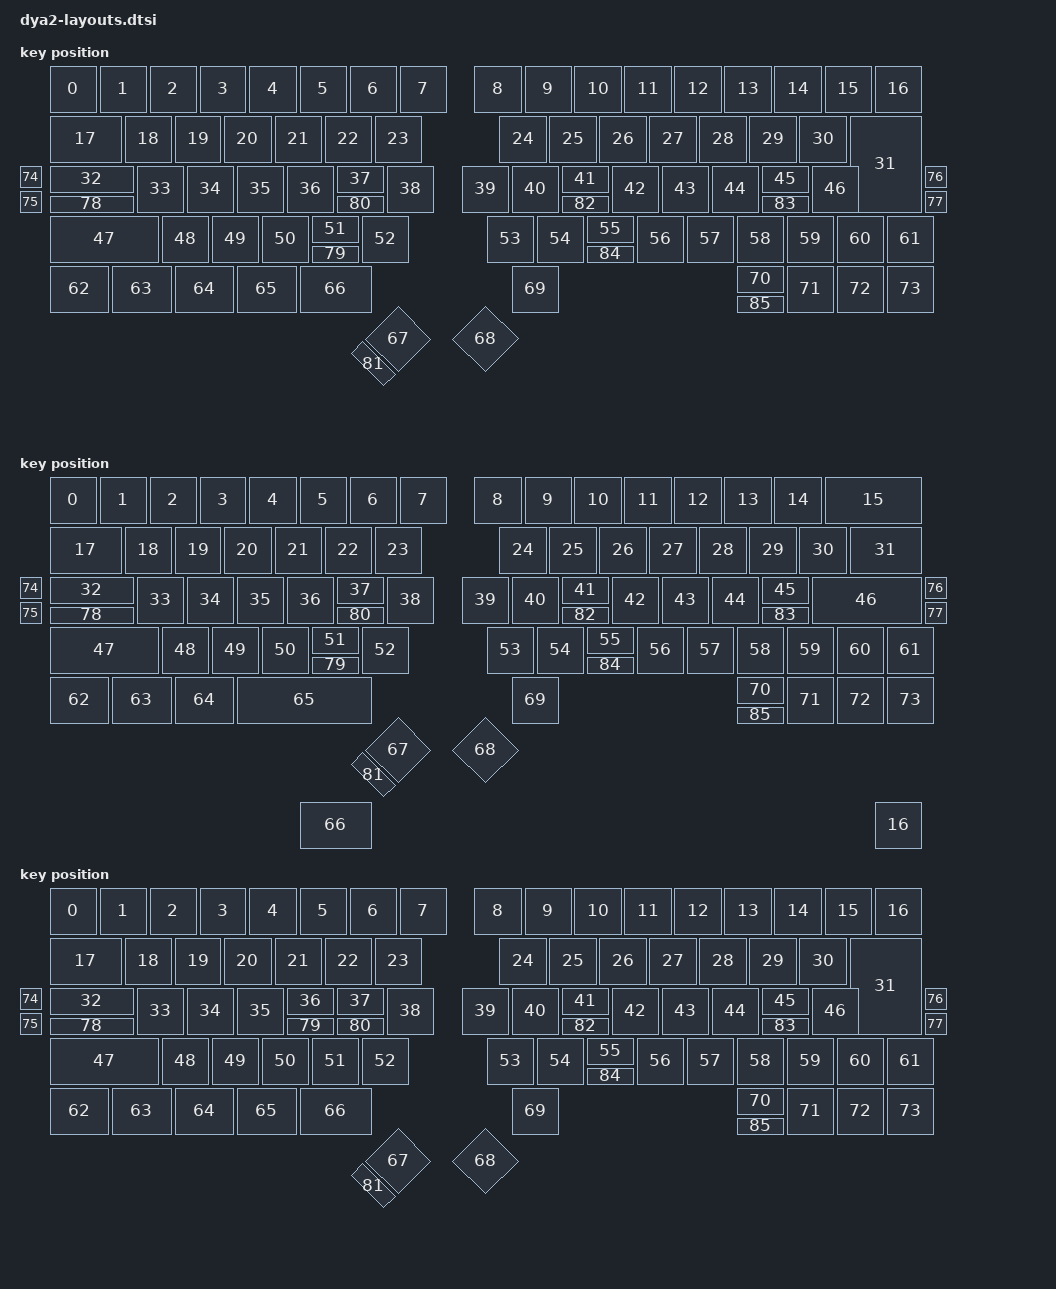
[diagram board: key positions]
#include <physical_layouts.dtsi>

/ {
	dya_layout_jis: dya_layout_jis {
		compatible = "zmk,physical-layout";
		display-name = "JIS";
		
		kscan = <&kscan0>;
		transform = <&default_transform>;
		
		keys//                     w   h    x    y     rot    rx    ry
		// 17
		= <&key_physical_attrs 100 100   60    0       0     0     0>
		, <&key_physical_attrs 100 100  160    0       0     0     0>
		, <&key_physical_attrs 100 100  260    0       0     0     0>
		, <&key_physical_attrs 100 100  360    0       0     0     0>
		, <&key_physical_attrs 100 100  460    0       0     0     0>
		, <&key_physical_attrs 100 100  560    0       0     0     0>
		, <&key_physical_attrs 100 100  660    0       0     0     0>
		, <&key_physical_attrs 100 100  760    0       0     0     0>
		, <&key_physical_attrs 100 100  910    0       0     0     0>
		, <&key_physical_attrs 100 100 1010    0       0     0     0>
		, <&key_physical_attrs 100 100 1110    0       0     0     0>
		, <&key_physical_attrs 100 100 1210    0       0     0     0>
		, <&key_physical_attrs 100 100 1310    0       0     0     0>
		, <&key_physical_attrs 100 100 1410    0       0     0     0>
		, <&key_physical_attrs 100 100 1510    0       0     0     0>
		, <&key_physical_attrs 100 100 1610    0       0     0     0>
		, <&key_physical_attrs 100 100 1710    0       0     0     0>
		// 15
		, <&key_physical_attrs 150 100   60  100       0     0     0>
		, <&key_physical_attrs 100 100  210  100       0     0     0>
		, <&key_physical_attrs 100 100  310  100       0     0     0>
		, <&key_physical_attrs 100 100  410  100       0     0     0>
		, <&key_physical_attrs 100 100  510  100       0     0     0>
		, <&key_physical_attrs 100 100  610  100       0     0     0>
		, <&key_physical_attrs 100 100  710  100       0     0     0>
		, <&key_physical_attrs 100 100  960  100       0     0     0>
		, <&key_physical_attrs 100 100 1060  100       0     0     0>
		, <&key_physical_attrs 100 100 1160  100       0     0     0>
		, <&key_physical_attrs 100 100 1260  100       0     0     0>
		, <&key_physical_attrs 100 100 1360  100       0     0     0>
		, <&key_physical_attrs 100 100 1460  100       0     0     0>
		, <&key_physical_attrs 100 100 1560  100       0     0     0>
		, <&key_physical_attrs 150 200 1660  100       0     0     0>// enter key
		// 15
		, <&key_physical_attrs 175  60   60  200       0     0     0>
		, <&key_physical_attrs 100 100  235  200       0     0     0>
		, <&key_physical_attrs 100 100  335  200       0     0     0>
		, <&key_physical_attrs 100 100  435  200       0     0     0>
		, <&key_physical_attrs 100 100  535  200       0     0     0>
		, <&key_physical_attrs 100 60   635  200       0     0     0>
		, <&key_physical_attrs 100 100  735  200       0     0     0>
		, <&key_physical_attrs 100 100  885  200       0     0     0>
		, <&key_physical_attrs 100 100  985  200       0     0     0>
		, <&key_physical_attrs 100 60  1085  200       0     0     0>
		, <&key_physical_attrs 100 100 1185  200       0     0     0>
		, <&key_physical_attrs 100 100 1285  200       0     0     0>
		, <&key_physical_attrs 100 100 1385  200       0     0     0>
		, <&key_physical_attrs 100  60 1485  200       0     0     0>
		, <&key_physical_attrs 100 100 1585  200       0     0     0>
		// 15
		, <&key_physical_attrs 225 100   60  300       0     0     0>
		, <&key_physical_attrs 100 100  285  300       0     0     0>
		, <&key_physical_attrs 100 100  385  300       0     0     0>
		, <&key_physical_attrs 100 100  485  300       0     0     0>
		, <&key_physical_attrs 100  60  585  300       0     0     0>
		, <&key_physical_attrs 100 100  685  300       0     0     0>
		, <&key_physical_attrs 100 100  935  300       0     0     0>
		, <&key_physical_attrs 100 100 1035  300       0     0     0>
		, <&key_physical_attrs 100  60 1135  300       0     0     0>
		, <&key_physical_attrs 100 100 1235  300       0     0     0>
		, <&key_physical_attrs 100 100 1335  300       0     0     0>
		, <&key_physical_attrs 100 100 1435  300       0     0     0>
		, <&key_physical_attrs 100 100 1535  300       0     0     0>
		, <&key_physical_attrs 100 100 1635  300       0     0     0>
		, <&key_physical_attrs 100 100 1735  300       0     0     0>
		// 12
		, <&key_physical_attrs 125 100   60  400       0     0     0>
		, <&key_physical_attrs 125 100  185  400       0     0     0>
		, <&key_physical_attrs 125 100  310  400       0     0     0>
		, <&key_physical_attrs 125 100  435  400       0     0     0>
		, <&key_physical_attrs 150 100  560  400       0     0     0>
		, <&key_physical_attrs 100 100  710  500    4500   760   550>
		, <&key_physical_attrs 100 100  885  500 (-4500)   935   550>
		, <&key_physical_attrs 100 100  985  400       0     0     0>
		, <&key_physical_attrs 100  60 1435  400       0     0     0>
		, <&key_physical_attrs 100 100 1535  400       0     0     0>
		, <&key_physical_attrs 100 100 1635  400       0     0     0>
		, <&key_physical_attrs 100 100 1735  400       0     0     0>
		// Setting: 4 keys
		, <&key_physical_attrs  50  50     0  200       0     0     0>
		, <&key_physical_attrs  50  50     0  250       0     0     0>
		, <&key_physical_attrs  50  50 1810  200       0     0     0>
		, <&key_physical_attrs  50  50 1810  250       0     0     0>
		// Touch: 8 keys
		, <&key_physical_attrs 175  40   60  260       0     0     0>
		, <&key_physical_attrs 100 40  585  360       0     0     0>// V
		, <&key_physical_attrs 100 40  635  260       0     0     0>
		, <&key_physical_attrs 100 40  710  600    4500   760   550>
		, <&key_physical_attrs 100 40 1085  260       0     0     0>
		, <&key_physical_attrs 100 40 1485  260       0     0     0>
		, <&key_physical_attrs 100 40 1135  360       0     0     0>
		, <&key_physical_attrs 100 40 1435  460       0     0     0>
		;
	};
	
	dya_layout_ansi: dya_layout_ansi {
		compatible = "zmk,physical-layout";
		display-name = "DYA2 ANSI";
		
		kscan = <&kscan0>;
		transform = <&default_transform>;
		
		keys//                     w   h    x    y     rot    rx    ry
		// R1: 17 keys
		= <&key_physical_attrs 100 100   60    0       0     0     0>
		, <&key_physical_attrs 100 100  160    0       0     0     0>
		, <&key_physical_attrs 100 100  260    0       0     0     0>
		, <&key_physical_attrs 100 100  360    0       0     0     0>
		, <&key_physical_attrs 100 100  460    0       0     0     0>
		, <&key_physical_attrs 100 100  560    0       0     0     0>
		, <&key_physical_attrs 100 100  660    0       0     0     0>
		, <&key_physical_attrs 100 100  760    0       0     0     0>
		, <&key_physical_attrs 100 100  910    0       0     0     0>
		, <&key_physical_attrs 100 100 1010    0       0     0     0>
		, <&key_physical_attrs 100 100 1110    0       0     0     0>
		, <&key_physical_attrs 100 100 1210    0       0     0     0>
		, <&key_physical_attrs 100 100 1310    0       0     0     0>
		, <&key_physical_attrs 100 100 1410    0       0     0     0>
		, <&key_physical_attrs 100 100 1510    0       0     0     0>
		, <&key_physical_attrs 200 100 1610    0       0     0     0>
		, <&key_physical_attrs 100 100 1710  650       0     0     0>// not used
		// R2: 15 keys
		, <&key_physical_attrs 150 100   60  100       0     0     0>
		, <&key_physical_attrs 100 100  210  100       0     0     0>
		, <&key_physical_attrs 100 100  310  100       0     0     0>
		, <&key_physical_attrs 100 100  410  100       0     0     0>
		, <&key_physical_attrs 100 100  510  100       0     0     0>
		, <&key_physical_attrs 100 100  610  100       0     0     0>
		, <&key_physical_attrs 100 100  710  100       0     0     0>
		, <&key_physical_attrs 100 100  960  100       0     0     0>
		, <&key_physical_attrs 100 100 1060  100       0     0     0>
		, <&key_physical_attrs 100 100 1160  100       0     0     0>
		, <&key_physical_attrs 100 100 1260  100       0     0     0>
		, <&key_physical_attrs 100 100 1360  100       0     0     0>
		, <&key_physical_attrs 100 100 1460  100       0     0     0>
		, <&key_physical_attrs 100 100 1560  100       0     0     0>
		, <&key_physical_attrs 150 100 1660  100       0     0     0>
		// R3: 15 keys
		, <&key_physical_attrs 175  60   60  200       0     0     0>
		, <&key_physical_attrs 100 100  235  200       0     0     0>
		, <&key_physical_attrs 100 100  335  200       0     0     0>
		, <&key_physical_attrs 100 100  435  200       0     0     0>
		, <&key_physical_attrs 100 100  535  200       0     0     0>
		, <&key_physical_attrs 100 60   635  200       0     0     0>
		, <&key_physical_attrs 100 100  735  200       0     0     0>
		, <&key_physical_attrs 100 100  885  200       0     0     0>
		, <&key_physical_attrs 100 100  985  200       0     0     0>
		, <&key_physical_attrs 100 60  1085  200       0     0     0>
		, <&key_physical_attrs 100 100 1185  200       0     0     0>
		, <&key_physical_attrs 100 100 1285  200       0     0     0>
		, <&key_physical_attrs 100 100 1385  200       0     0     0>
		, <&key_physical_attrs 100 60  1485  200       0     0     0>
		, <&key_physical_attrs 225 100 1585  200       0     0     0>
		// R4: 15 keys
		, <&key_physical_attrs 225 100   60  300       0     0     0>
		, <&key_physical_attrs 100 100  285  300       0     0     0>
		, <&key_physical_attrs 100 100  385  300       0     0     0>
		, <&key_physical_attrs 100 100  485  300       0     0     0>
		, <&key_physical_attrs 100 60   585  300       0     0     0>
		, <&key_physical_attrs 100 100  685  300       0     0     0>
		, <&key_physical_attrs 100 100  935  300       0     0     0>
		, <&key_physical_attrs 100 100 1035  300       0     0     0>
		, <&key_physical_attrs 100 60  1135  300       0     0     0>
		, <&key_physical_attrs 100 100 1235  300       0     0     0>
		, <&key_physical_attrs 100 100 1335  300       0     0     0>
		, <&key_physical_attrs 100 100 1435  300       0     0     0>
		, <&key_physical_attrs 100 100 1535  300       0     0     0>
		, <&key_physical_attrs 100 100 1635  300       0     0     0>
		, <&key_physical_attrs 100 100 1735  300       0     0     0>
		// R5: 12 keys
		, <&key_physical_attrs 125 100   60  400       0     0     0>
		, <&key_physical_attrs 125 100  185  400       0     0     0>
		, <&key_physical_attrs 125 100  310  400       0     0     0>
		, <&key_physical_attrs 275 100  435  400       0     0     0>
		, <&key_physical_attrs 150 100  560  650       0     0     0>// not used
		, <&key_physical_attrs 100 100  710  500    4500   760   550>// left space
		, <&key_physical_attrs 100 100  885  500 (-4500)   935   550>// right space
		, <&key_physical_attrs 100 100  985  400       0     0     0>
		, <&key_physical_attrs 100  60 1435  400       0     0     0>
		, <&key_physical_attrs 100 100 1535  400       0     0     0>
		, <&key_physical_attrs 100 100 1635  400       0     0     0>
		, <&key_physical_attrs 100 100 1735  400       0     0     0>
		// Setting: 4 keys
		, <&key_physical_attrs  50  50     0  200       0     0     0>
		, <&key_physical_attrs  50  50     0  250       0     0     0>
		, <&key_physical_attrs  50  50 1810  200       0     0     0>
		, <&key_physical_attrs  50  50 1810  250       0     0     0>
		// Touch: 8 keys
		, <&key_physical_attrs 175  40   60  260       0     0     0>
		, <&key_physical_attrs 100 40  585  360       0     0     0>// V
		, <&key_physical_attrs 100 40  635  260       0     0     0>
		, <&key_physical_attrs 100 40  710  600    4500   760   550>
		, <&key_physical_attrs 100 40 1085  260       0     0     0>
		, <&key_physical_attrs 100 40 1485  260       0     0     0>
		, <&key_physical_attrs 100 40 1135  360       0     0     0>
		, <&key_physical_attrs 100 40 1435  460       0     0     0>
		;
	};
	
	
	dya_layout_jis_touchf: dya_layout_jis_touchf {
		compatible = "zmk,physical-layout";
		display-name = "JIS (touch:F)";
		
		kscan = <&kscan0>;
		transform = <&default_transform>;
		
		keys//                     w   h    x    y     rot    rx    ry
		// 17
		= <&key_physical_attrs 100 100   60    0       0     0     0>
		, <&key_physical_attrs 100 100  160    0       0     0     0>
		, <&key_physical_attrs 100 100  260    0       0     0     0>
		, <&key_physical_attrs 100 100  360    0       0     0     0>
		, <&key_physical_attrs 100 100  460    0       0     0     0>
		, <&key_physical_attrs 100 100  560    0       0     0     0>
		, <&key_physical_attrs 100 100  660    0       0     0     0>
		, <&key_physical_attrs 100 100  760    0       0     0     0>
		, <&key_physical_attrs 100 100  910    0       0     0     0>
		, <&key_physical_attrs 100 100 1010    0       0     0     0>
		, <&key_physical_attrs 100 100 1110    0       0     0     0>
		, <&key_physical_attrs 100 100 1210    0       0     0     0>
		, <&key_physical_attrs 100 100 1310    0       0     0     0>
		, <&key_physical_attrs 100 100 1410    0       0     0     0>
		, <&key_physical_attrs 100 100 1510    0       0     0     0>
		, <&key_physical_attrs 100 100 1610    0       0     0     0>
		, <&key_physical_attrs 100 100 1710    0       0     0     0>
		// 15
		, <&key_physical_attrs 150 100   60  100       0     0     0>
		, <&key_physical_attrs 100 100  210  100       0     0     0>
		, <&key_physical_attrs 100 100  310  100       0     0     0>
		, <&key_physical_attrs 100 100  410  100       0     0     0>
		, <&key_physical_attrs 100 100  510  100       0     0     0>
		, <&key_physical_attrs 100 100  610  100       0     0     0>
		, <&key_physical_attrs 100 100  710  100       0     0     0>
		, <&key_physical_attrs 100 100  960  100       0     0     0>
		, <&key_physical_attrs 100 100 1060  100       0     0     0>
		, <&key_physical_attrs 100 100 1160  100       0     0     0>
		, <&key_physical_attrs 100 100 1260  100       0     0     0>
		, <&key_physical_attrs 100 100 1360  100       0     0     0>
		, <&key_physical_attrs 100 100 1460  100       0     0     0>
		, <&key_physical_attrs 100 100 1560  100       0     0     0>
		, <&key_physical_attrs 150 200 1660  100       0     0     0>// enter key
		// 15
		, <&key_physical_attrs 175  60   60  200       0     0     0>
		, <&key_physical_attrs 100 100  235  200       0     0     0>
		, <&key_physical_attrs 100 100  335  200       0     0     0>
		, <&key_physical_attrs 100 100  435  200       0     0     0>
		, <&key_physical_attrs 100 60   535  200       0     0     0>
		, <&key_physical_attrs 100 60   635  200       0     0     0>
		, <&key_physical_attrs 100 100  735  200       0     0     0>
		, <&key_physical_attrs 100 100  885  200       0     0     0>
		, <&key_physical_attrs 100 100  985  200       0     0     0>
		, <&key_physical_attrs 100 60  1085  200       0     0     0>
		, <&key_physical_attrs 100 100 1185  200       0     0     0>
		, <&key_physical_attrs 100 100 1285  200       0     0     0>
		, <&key_physical_attrs 100 100 1385  200       0     0     0>
		, <&key_physical_attrs 100  60 1485  200       0     0     0>
		, <&key_physical_attrs 100 100 1585  200       0     0     0>
		// 15
		, <&key_physical_attrs 225 100   60  300       0     0     0>
		, <&key_physical_attrs 100 100  285  300       0     0     0>
		, <&key_physical_attrs 100 100  385  300       0     0     0>
		, <&key_physical_attrs 100 100  485  300       0     0     0>
		, <&key_physical_attrs 100 100  585  300       0     0     0>
		, <&key_physical_attrs 100 100  685  300       0     0     0>
		, <&key_physical_attrs 100 100  935  300       0     0     0>
		, <&key_physical_attrs 100 100 1035  300       0     0     0>
		, <&key_physical_attrs 100  60 1135  300       0     0     0>
		, <&key_physical_attrs 100 100 1235  300       0     0     0>
		, <&key_physical_attrs 100 100 1335  300       0     0     0>
		, <&key_physical_attrs 100 100 1435  300       0     0     0>
		, <&key_physical_attrs 100 100 1535  300       0     0     0>
		, <&key_physical_attrs 100 100 1635  300       0     0     0>
		, <&key_physical_attrs 100 100 1735  300       0     0     0>
		// 12
		, <&key_physical_attrs 125 100   60  400       0     0     0>
		, <&key_physical_attrs 125 100  185  400       0     0     0>
		, <&key_physical_attrs 125 100  310  400       0     0     0>
		, <&key_physical_attrs 125 100  435  400       0     0     0>
		, <&key_physical_attrs 150 100  560  400       0     0     0>
		, <&key_physical_attrs 100 100  710  500    4500   760   550>
		, <&key_physical_attrs 100 100  885  500 (-4500)   935   550>
		, <&key_physical_attrs 100 100  985  400       0     0     0>
		, <&key_physical_attrs 100  60 1435  400       0     0     0>
		, <&key_physical_attrs 100 100 1535  400       0     0     0>
		, <&key_physical_attrs 100 100 1635  400       0     0     0>
		, <&key_physical_attrs 100 100 1735  400       0     0     0>
		// Setting: 4 keys
		, <&key_physical_attrs  50  50     0  200       0     0     0>
		, <&key_physical_attrs  50  50     0  250       0     0     0>
		, <&key_physical_attrs  50  50 1810  200       0     0     0>
		, <&key_physical_attrs  50  50 1810  250       0     0     0>
		// Touch: 8 keys
		, <&key_physical_attrs 175  40   60  260       0     0     0>
		, <&key_physical_attrs 100 40  535  260       0     0     0>
		, <&key_physical_attrs 100 40  635  260       0     0     0>
		, <&key_physical_attrs 100 40  710  600    4500   760   550>
		, <&key_physical_attrs 100 40 1085  260       0     0     0>
		, <&key_physical_attrs 100 40 1485  260       0     0     0>
		, <&key_physical_attrs 100 40 1135  360       0     0     0>
		, <&key_physical_attrs 100 40 1435  460       0     0     0>
		;
	};
	
	dya_layout_ansi_touchf: dya_layout_ansi_touchf {
		compatible = "zmk,physical-layout";
		display-name = "DYA2 ANSI (touch:F)";
		
		kscan = <&kscan0>;
		transform = <&default_transform>;
		
		keys//                     w   h    x    y     rot    rx    ry
		// R1: 17 keys
		= <&key_physical_attrs 100 100   60    0       0     0     0>
		, <&key_physical_attrs 100 100  160    0       0     0     0>
		, <&key_physical_attrs 100 100  260    0       0     0     0>
		, <&key_physical_attrs 100 100  360    0       0     0     0>
		, <&key_physical_attrs 100 100  460    0       0     0     0>
		, <&key_physical_attrs 100 100  560    0       0     0     0>
		, <&key_physical_attrs 100 100  660    0       0     0     0>
		, <&key_physical_attrs 100 100  760    0       0     0     0>
		, <&key_physical_attrs 100 100  910    0       0     0     0>
		, <&key_physical_attrs 100 100 1010    0       0     0     0>
		, <&key_physical_attrs 100 100 1110    0       0     0     0>
		, <&key_physical_attrs 100 100 1210    0       0     0     0>
		, <&key_physical_attrs 100 100 1310    0       0     0     0>
		, <&key_physical_attrs 100 100 1410    0       0     0     0>
		, <&key_physical_attrs 100 100 1510    0       0     0     0>
		, <&key_physical_attrs 200 100 1610    0       0     0     0>
		, <&key_physical_attrs 100 100 1710  650       0     0     0>// not used
		// R2: 15 keys
		, <&key_physical_attrs 150 100   60  100       0     0     0>
		, <&key_physical_attrs 100 100  210  100       0     0     0>
		, <&key_physical_attrs 100 100  310  100       0     0     0>
		, <&key_physical_attrs 100 100  410  100       0     0     0>
		, <&key_physical_attrs 100 100  510  100       0     0     0>
		, <&key_physical_attrs 100 100  610  100       0     0     0>
		, <&key_physical_attrs 100 100  710  100       0     0     0>
		, <&key_physical_attrs 100 100  960  100       0     0     0>
		, <&key_physical_attrs 100 100 1060  100       0     0     0>
		, <&key_physical_attrs 100 100 1160  100       0     0     0>
		, <&key_physical_attrs 100 100 1260  100       0     0     0>
		, <&key_physical_attrs 100 100 1360  100       0     0     0>
		, <&key_physical_attrs 100 100 1460  100       0     0     0>
		, <&key_physical_attrs 100 100 1560  100       0     0     0>
		, <&key_physical_attrs 150 100 1660  100       0     0     0>
		// R3: 15 keys
		, <&key_physical_attrs 175  60   60  200       0     0     0>
		, <&key_physical_attrs 100 100  235  200       0     0     0>
		, <&key_physical_attrs 100 100  335  200       0     0     0>
		, <&key_physical_attrs 100 100  435  200       0     0     0>
		, <&key_physical_attrs 100 60   535  200       0     0     0>
		, <&key_physical_attrs 100 60   635  200       0     0     0>
		, <&key_physical_attrs 100 100  735  200       0     0     0>
		, <&key_physical_attrs 100 100  885  200       0     0     0>
		, <&key_physical_attrs 100 100  985  200       0     0     0>
		, <&key_physical_attrs 100 60  1085  200       0     0     0>
		, <&key_physical_attrs 100 100 1185  200       0     0     0>
		, <&key_physical_attrs 100 100 1285  200       0     0     0>
		, <&key_physical_attrs 100 100 1385  200       0     0     0>
		, <&key_physical_attrs 100 60  1485  200       0     0     0>
		, <&key_physical_attrs 225 100 1585  200       0     0     0>
		// R4: 15 keys
		, <&key_physical_attrs 225 100   60  300       0     0     0>
		, <&key_physical_attrs 100 100  285  300       0     0     0>
		, <&key_physical_attrs 100 100  385  300       0     0     0>
		, <&key_physical_attrs 100 100  485  300       0     0     0>
		, <&key_physical_attrs 100 100  585  300       0     0     0>
		, <&key_physical_attrs 100 100  685  300       0     0     0>
		, <&key_physical_attrs 100 100  935  300       0     0     0>
		, <&key_physical_attrs 100 100 1035  300       0     0     0>
		, <&key_physical_attrs 100 60  1135  300       0     0     0>
		, <&key_physical_attrs 100 100 1235  300       0     0     0>
		, <&key_physical_attrs 100 100 1335  300       0     0     0>
		, <&key_physical_attrs 100 100 1435  300       0     0     0>
		, <&key_physical_attrs 100 100 1535  300       0     0     0>
		, <&key_physical_attrs 100 100 1635  300       0     0     0>
		, <&key_physical_attrs 100 100 1735  300       0     0     0>
		// R5: 12 keys
		, <&key_physical_attrs 125 100   60  400       0     0     0>
		, <&key_physical_attrs 125 100  185  400       0     0     0>
		, <&key_physical_attrs 125 100  310  400       0     0     0>
		, <&key_physical_attrs 275 100  435  400       0     0     0>
		, <&key_physical_attrs 150 100  560  650       0     0     0>// not used
		, <&key_physical_attrs 100 100  710  500    4500   760   550>// left space
		, <&key_physical_attrs 100 100  885  500 (-4500)   935   550>// right space
		, <&key_physical_attrs 100 100  985  400       0     0     0>
		, <&key_physical_attrs 100  60 1435  400       0     0     0>
		, <&key_physical_attrs 100 100 1535  400       0     0     0>
		, <&key_physical_attrs 100 100 1635  400       0     0     0>
		, <&key_physical_attrs 100 100 1735  400       0     0     0>
		// Setting: 4 keys
		, <&key_physical_attrs  50  50     0  200       0     0     0>
		, <&key_physical_attrs  50  50     0  250       0     0     0>
		, <&key_physical_attrs  50  50 1810  200       0     0     0>
		, <&key_physical_attrs  50  50 1810  250       0     0     0>
		// Touch: 8 keys
		, <&key_physical_attrs 175  40   60  260       0     0     0>
		, <&key_physical_attrs 100 40  535  260       0     0     0>
		, <&key_physical_attrs 100 40  635  260       0     0     0>
		, <&key_physical_attrs 100 40  710  600    4500   760   550>
		, <&key_physical_attrs 100 40 1085  260       0     0     0>
		, <&key_physical_attrs 100 40 1485  260       0     0     0>
		, <&key_physical_attrs 100 40 1135  360       0     0     0>
		, <&key_physical_attrs 100 40 1435  460       0     0     0>
		;
	};
	
	position_map {
		compatible = "zmk,physical-layout-position-map";
		complete;
		jis: jis {
			physical-layout = <&dya_layout_jis>;
			positions = <0 1 2 3 4 5 6 7 8 9 10 11 12 13 14 15 16>,
			<17 18 19 20 21 22 23 24 25 26 27 28 29 30 46>,
			<32 33 34 35 36 37 38 39 40 41 42 43 44 45 31>,
			<47 48 49 50 51 52 53 54 55 56 57 58 59 60 61>,
			<62 63 64 65 66 67 68 69 70 71 72 73>,
			<74 75>, <76 77>,
			<78 79 80 81>, <82 83 84 85>;
		};
		ansi: ansi {
			physical-layout = <&dya_layout_ansi>;
			positions = <0 1 2 3 4 5 6 7 8 9 10 11 12 13 14 16 15>,
			<17 18 19 20 21 22 23 24 25 26 27 28 29 30 31>,
			<32 33 34 35 36 37 38 39 40 41 42 43 44 45 46>,
			<47 48 49 50 51 52 53 54 55 56 57 58 59 60 61>,
			<62 63 64 65 66 67 68 69 70 71 72 73>,
			<74 75>, <76 77>,
			<78 79 80 81>, <82 83 84 85>;
		};
		jis_tf: jis_tf {
			physical-layout = <&dya_layout_jis_touchf>;
			positions = <0 1 2 3 4 5 6 7 8 9 10 11 12 13 14 15 16>,
			<17 18 19 20 21 22 23 24 25 26 27 28 29 30 46>,
			<32 33 34 35 36 37 38 39 40 41 42 43 44 45 31>,
			<47 48 49 50 51 52 53 54 55 56 57 58 59 60 61>,
			<62 63 64 65 66 67 68 69 70 71 72 73>,
			<74 75>, <76 77>,
			<78 79 80 81>, <82 83 84 85>;
		};
		ansi_tf: ansi_tf {
			physical-layout = <&dya_layout_ansi_touchf>;
			positions = <0 1 2 3 4 5 6 7 8 9 10 11 12 13 14 16 15>,
			<17 18 19 20 21 22 23 24 25 26 27 28 29 30 31>,
			<32 33 34 35 36 37 38 39 40 41 42 43 44 45 46>,
			<47 48 49 50 51 52 53 54 55 56 57 58 59 60 61>,
			<62 63 64 65 66 67 68 69 70 71 72 73>,
			<74 75>, <76 77>,
			<78 79 80 81>, <82 83 84 85>;
		};
	};
};
